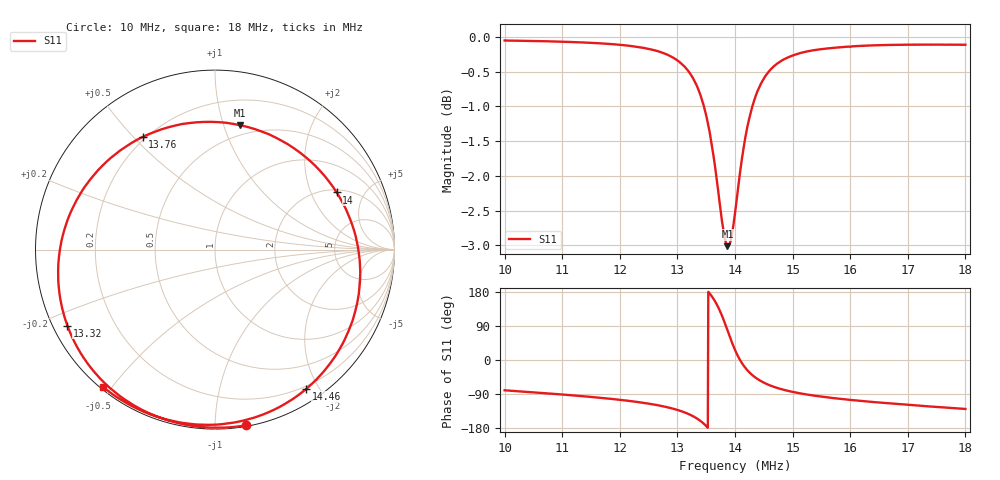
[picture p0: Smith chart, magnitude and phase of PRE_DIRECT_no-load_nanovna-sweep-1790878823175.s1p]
! NanoVNA Web complex sweep
! Processing: unaveraged complex samples; linear segment spacing; no smoothing
# Hz S RI R 50
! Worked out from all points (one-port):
!   1010 points, 10 MHz to 18 MHz, reference 50 ohm
!   lowest |S11| = -3.0 dB at 13.87 MHz (marker M1), VSWR 5.82, Z = 20.5 + j56.8 ohm
!   |S11| at or under -10 dB: nowhere
!   S11 on the Smith chart (normalised r, x): 10 MHz: 0.01, -1.19; 13.32 MHz: 0.04, -0.24; 13.76 MHz: 0.19, +0.53; 14 MHz: 2.14, +3.10; 14.46 MHz: 0.16, -1.84; 18 MHz: 0.01, -0.48
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1e7  0.1738 -0.9789
1.100698e7  -0.0194 -0.992
1.200604e7  -0.2579 -0.9528
1.260071e7  -0.4553 -0.8658
1.300509e7  -0.6432 -0.7148
1.317953e7  -0.742 -0.5872
1.332225e7  -0.8222 -0.4239
1.345704e7  -0.8723 -0.1883
1.358391e7  -0.8323 0.1321
1.367113e7  -0.6913 0.3958
1.371077e7  -0.5801 0.5114
1.375835e7  -0.4026 0.6278
1.381385e7  -0.1442 0.7049
1.386935e7  0.1404 0.6929
1.393278e7  0.4412 0.5637
1.400414e7  0.6777 0.3183
1.405172e7  0.7654 0.135
1.409929e7  0.8045 -0.0427
1.41548e7  0.8033 -0.2269
1.422616e7  0.7576 -0.4189
1.433716e7  0.6448 -0.6297
1.446403e7  0.5075 -0.7768
1.468604e7  0.3039 -0.9037
1.50032e7  0.0974 -0.9649
1.543929e7  -0.0922 -0.9749
1.600225e7  -0.2591 -0.9492
1.700131e7  -0.4687 -0.869
1.800036e7  -0.623 -0.7658
